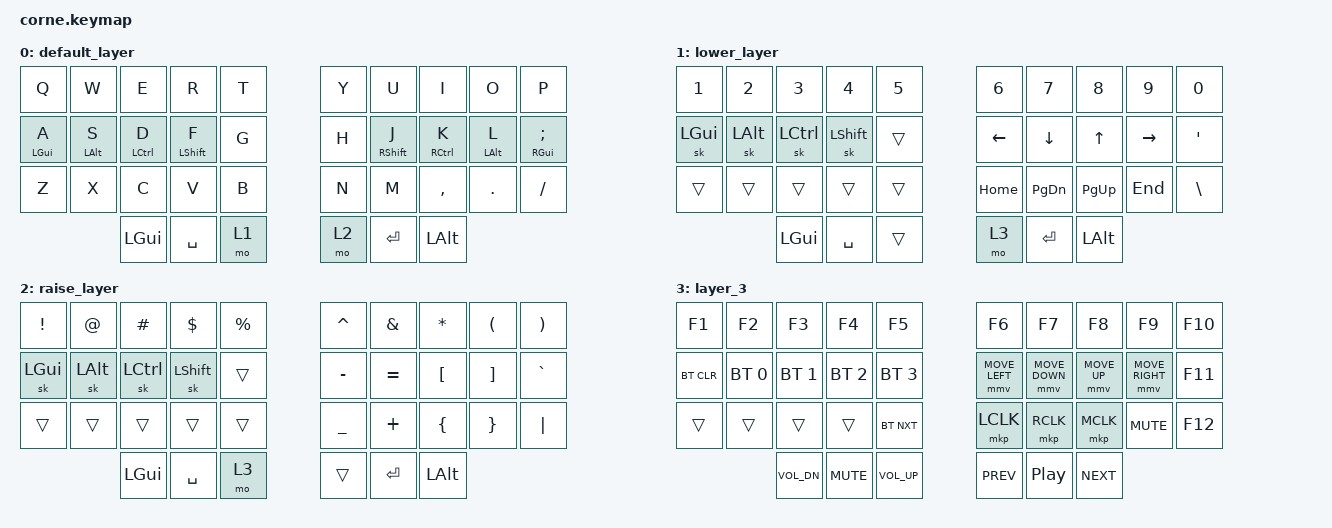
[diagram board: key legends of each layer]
/*
 * Copyright (c) 2020 The ZMK Contributors
 *
 * SPDX-License-Identifier: MIT
 *
 * 5x3 Corne — outer columns removed, full thumb cluster (3+3) preserved on every layer.
 * Home-row mods (Miryoku-style) recover SHIFT/CTRL/ALT/GUI.
 * Lost outer keys (TAB/ESC/BSPC/DEL/SQT/ENT) recovered via combos.
 *
 * Layer 0: base alphas + HRM
 * Layer 1 (lower):  numbers + nav (arrows, home/end, page up/down)
 * Layer 2 (raise):  symbols
 * Layer 3:          F-keys + BT + mouse + media (held both thumb layer keys)
 */

#include <behaviors.dtsi>
#include <dt-bindings/zmk/bt.h>
#include <dt-bindings/zmk/keys.h>
#include <dt-bindings/zmk/pointing.h>

/ {
    behaviors {
        hm: homerow_mods {
            compatible = "zmk,behavior-hold-tap";
            #binding-cells = <2>;
            tapping-term-ms = <220>;
            quick-tap-ms = <175>;
            require-prior-idle-ms = <125>;
            flavor = "balanced";
            bindings = <&kp>, <&kp>;
        };
    };

    combos {
        compatible = "zmk,combos";

        // Hold both layer thumbs → layer 3
        layer3 {
            bindings = <&mo 3>;
            key-positions = <32 33>;
        };

        // Editing combos (Windows shortcuts)
        copy   { bindings = <&kp LC(C)>; key-positions = <22 24>; };  // C + B
        paste  { bindings = <&kp LC(V)>; key-positions = <23 24>; };  // V + B
        cut    { bindings = <&kp LC(X)>; key-positions = <21 24>; };  // X + B
        undo   { bindings = <&kp LC(Z)>; key-positions = <20 24>; };  // Z + B

        // Lost outer-column keys
        tab_combo  { bindings = <&kp TAB>;  key-positions = <0 1>;  timeout-ms = <40>; };  // Q + W
        esc_combo  { bindings = <&kp ESC>;  key-positions = <1 2>;  timeout-ms = <40>; };  // W + E
        del_combo  { bindings = <&kp DEL>;  key-positions = <7 8>;  timeout-ms = <40>; };  // I + O
        bspc_combo { bindings = <&kp BSPC>; key-positions = <8 9>;  timeout-ms = <40>; };  // O + P
        sqt_combo  { bindings = <&kp SQT>;  key-positions = <18 19>; timeout-ms = <40>; }; // L + ;
        ent_combo  { bindings = <&kp ENTER>; key-positions = <16 17>; timeout-ms = <40>; };// J + K
        caps_combo { bindings = <&caps_word>; key-positions = <11 18>; timeout-ms = <50>; };// S + L (Caps Word)
    };

    keymap {
        compatible = "zmk,keymap";

        default_layer {
            // ---------------------------------------------------------------------------
            // |  Q  |  W  |  E  |  R  |  T  |   |  Y  |  U  |  I  |  O  |  P  |
            // | A/G | S/A | D/C | F/S |  G  |   |  H  | J/S | K/C | L/A | ;/G |
            // |  Z  |  X  |  C  |  V  |  B  |   |  N  |  M  |  ,  |  .  |  /  |
            //                | GUI | SPC | LWR |   | RSE | ENT | ALT |
            //
            // Combos: Q+W=TAB  W+E=ESC  I+O=DEL  O+P=BSPC  L+;='  J+K=ENT  S+L=CAPS WORD
            //         Z+B=undo  X+B=cut  C+B=copy  V+B=paste

            bindings = <
&kp Q        &kp W       &kp E         &kp R         &kp T          &kp Y    &kp U         &kp I         &kp O        &kp P
&hm LGUI A   &hm LALT S  &hm LCTRL D   &hm LSHFT F   &kp G          &kp H    &hm RSHFT J   &hm RCTRL K   &hm LALT L   &hm RGUI SEMI
&kp Z        &kp X       &kp C         &kp V         &kp B          &kp N    &kp M         &kp COMMA     &kp DOT      &kp FSLH
                                  &kp LGUI      &kp SPACE     &mo 1          &mo 2    &kp ENTER     &kp LALT
            >;
        };

        lower_layer {
            // ---------------------------------------------------------------------------
            // |  1  |  2  |  3  |  4  |  5  |   |  6  |  7  |  8  |  9  |  0  |
            // | GUI | ALT | CTL | SHF |     |   | LFT | DWN |  UP | RGT |  '  |
            // |     |     |     |     |     |   | HOM |PGDN |PGUP | END |  \  |
            //                | GUI | SPC | ___ |   | RSE | ENT | ALT |

            bindings = <
&kp N1        &kp N2        &kp N3        &kp N4        &kp N5            &kp N6      &kp N7        &kp N8        &kp N9        &kp N0
&sk LGUI      &sk LALT      &sk LCTRL     &sk LSHFT     &trans            &kp LEFT    &kp DOWN      &kp UP        &kp RIGHT     &kp SQT
&trans        &trans        &trans        &trans        &trans            &kp HOME    &kp PG_DN     &kp PG_UP     &kp END       &kp BSLH
                                  &kp LGUI      &kp SPACE     &trans            &mo 3       &kp ENTER     &kp LALT
            >;
        };

        raise_layer {
            // ---------------------------------------------------------------------------
            // |  !  |  @  |  #  |  $  |  %  |   |  ^  |  &  |  *  |  (  |  )  |
            // |     |     |     |     |     |   |  -  |  =  |  [  |  ]  |  `  |
            // |     |     |     |     |     |   |  _  |  +  |  {  |  }  |  |  |
            //                | GUI | SPC | LWR |   | ___ | ENT | ALT |

            bindings = <
&kp EXCL      &kp AT        &kp HASH      &kp DLLR      &kp PRCNT         &kp CARET   &kp AMPS      &kp ASTRK     &kp LPAR      &kp RPAR
&sk LGUI      &sk LALT      &sk LCTRL     &sk LSHFT     &trans            &kp MINUS   &kp EQUAL     &kp LBKT      &kp RBKT      &kp GRAVE
&trans        &trans        &trans        &trans        &trans            &kp UNDER   &kp PLUS      &kp LBRC      &kp RBRC      &kp PIPE
                                  &kp LGUI      &kp SPACE     &mo 3             &trans      &kp ENTER     &kp LALT
            >;
        };

        layer_3 {
            // ---------------------------------------------------------------------------
            // | F1  | F2  | F3  | F4  | F5  |   | F6  | F7  | F8  | F9  | F10 |
            // |BCLR | BT1 | BT2 | BT3 | BT4 |   | MLF | MDN | MUP | MRT | F11 |
            // |     |     |     |     |BTNX |   | LCK | RCK | MCK |MUTE | F12 |
            //                | V-  |MUTE | V+  |   | PRV |PLAY | NXT |

            bindings = <
&kp F1        &kp F2          &kp F3          &kp F4          &kp F5            &kp F6           &kp F7          &kp F8           &kp F9           &kp F10
&bt BT_CLR    &bt BT_SEL 0    &bt BT_SEL 1    &bt BT_SEL 2    &bt BT_SEL 3      &mmv MOVE_LEFT   &mmv MOVE_DOWN  &mmv MOVE_UP     &mmv MOVE_RIGHT  &kp F11
&trans        &trans          &trans          &trans          &bt BT_NXT        &mkp LCLK        &mkp RCLK       &mkp MCLK        &kp K_MUTE       &kp F12
                                              &kp C_VOL_DN    &kp K_MUTE        &kp C_VOL_UP     &kp C_PREV      &kp C_PP         &kp C_NEXT
            >;
        };
    };
};
